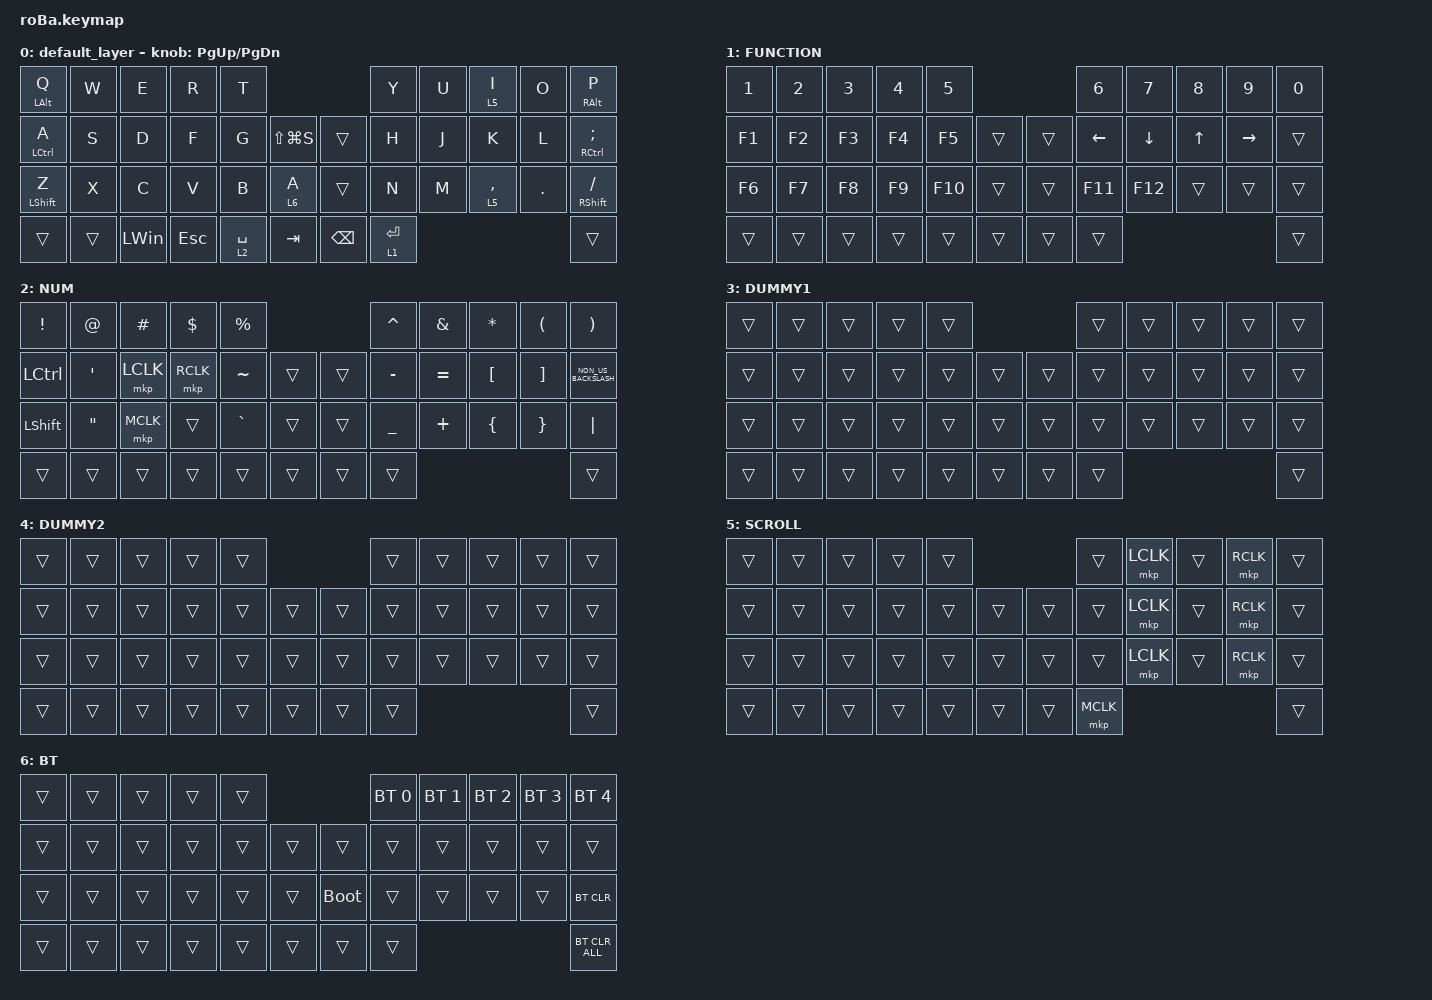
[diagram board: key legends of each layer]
#include <behaviors.dtsi>
#include <dt-bindings/zmk/bt.h>
#include <dt-bindings/zmk/keys.h>
#include <dt-bindings/zmk/pointing.h>

&mt {
    flavor = "balanced";
    quick-tap-ms = <0>;
};

&trackball {
    automouse-layer = <4>;
    scroll-layers = <5>;

    // arrows {
    //     layers = <3>;
    //     bindings =
    //         <&kp RIGHT_ARROW>,
    //         <&kp LEFT_ARROW>,
    //         <&kp UP_ARROW>,
    //         <&kp DOWN_ARROW>;
    //     tick = <10>;
    //     wait-ms = <5>;
    //     tap-ms = <5>;
    // };
};

/ {
    combos { compatible = "zmk,combos"; };

    macros {
        to_layer_0: to_layer_0 {
            compatible = "zmk,behavior-macro-one-param";
            #binding-cells = <1>;
            bindings = <&to 0 &macro_param_1to1 &kp MACRO_PLACEHOLDER>;
            label = "TO_LAYER_0";
        };
    };

    behaviors {
        lt_to_layer_0: lt_to_layer_0 {
            compatible = "zmk,behavior-hold-tap";
            label = "LAYER_TAP_TO_0";
            bindings = <&mo>, <&to_layer_0>;

            #binding-cells = <2>;
            tapping-term-ms = <200>;
        };
    };

    keymap {
        compatible = "zmk,keymap";

        default_layer {
            bindings = <
&mt LEFT_ALT Q    &kp W   &kp E         &kp R       &kp T                                          &kp Y        &kp U  &lt 5 I      &kp O    &mt RIGHT_ALT P
&mt LCTRL A       &kp S   &kp D         &kp F       &kp G        &kp LS(LG(S))      &trans         &kp H        &kp J  &kp K        &kp L    &mt RCTRL SEMICOLON
&mt LEFT_SHIFT Z  &kp X   &kp C         &kp V       &kp B        &lt 6 A            &trans         &kp N        &kp M  &lt 5 COMMA  &kp DOT  &mt RIGHT_SHIFT SLASH
&trans            &trans  &kp LEFT_WIN  &kp ESCAPE  &lt 2 SPACE  &kp TAB            &kp BACKSPACE  &lt 1 ENTER                               &trans
            >;

            sensor-bindings = <&inc_dec_kp PAGE_UP PAGE_DOWN>;
        };

        FUNCTION {
            bindings = <
&kp NUMBER_1  &kp NUMBER_2  &kp NUMBER_3  &kp NUMBER_4  &kp N5                       &kp NUMBER_6  &kp N7    &kp N8  &kp N9     &kp N0
&kp F1        &kp F2        &kp F3        &kp F4        &kp F5   &trans      &trans  &kp LEFT      &kp DOWN  &kp UP  &kp RIGHT  &trans
&kp F6        &kp F7        &kp F8        &kp F9        &kp F10  &trans      &trans  &kp F11       &kp F12   &trans  &trans     &trans
&trans        &trans        &trans        &trans        &trans   &trans      &trans  &trans                                     &trans
            >;
        };

        NUM {
            bindings = <
&kp EXCLAMATION  &kp AT_SIGN        &kp POUND  &kp DOLLAR  &kp PERCENT                      &kp CARET       &kp AMPERSAND  &kp ASTERISK      &kp LEFT_PARENTHESIS  &kp RIGHT_PARENTHESIS
&kp LCTRL        &kp SINGLE_QUOTE   &mkp LCLK  &mkp RCLK   &kp TILDE    &trans      &trans  &kp MINUS       &kp EQUAL      &kp LEFT_BRACKET  &kp RIGHT_BRACKET     &kp NON_US_BACKSLASH
&kp LEFT_SHIFT   &kp DOUBLE_QUOTES  &mkp MCLK  &trans      &kp GRAVE    &trans      &trans  &kp UNDERSCORE  &kp PLUS       &kp LEFT_BRACE    &kp RIGHT_BRACE       &kp PIPE
&trans           &trans             &trans     &trans      &trans       &trans      &trans  &trans                                                                 &trans
            >;
        };

        DUMMY1 {
            bindings = <
&trans  &trans  &trans  &trans  &trans                      &trans  &trans  &trans  &trans  &trans
&trans  &trans  &trans  &trans  &trans  &trans      &trans  &trans  &trans  &trans  &trans  &trans
&trans  &trans  &trans  &trans  &trans  &trans      &trans  &trans  &trans  &trans  &trans  &trans
&trans  &trans  &trans  &trans  &trans  &trans      &trans  &trans                          &trans
            >;
        };

        DUMMY2 {
            bindings = <
&trans  &trans  &trans  &trans  &trans                      &trans  &trans  &trans  &trans  &trans
&trans  &trans  &trans  &trans  &trans  &trans      &trans  &trans  &trans  &trans  &trans  &trans
&trans  &trans  &trans  &trans  &trans  &trans      &trans  &trans  &trans  &trans  &trans  &trans
&trans  &trans  &trans  &trans  &trans  &trans      &trans  &trans                          &trans
            >;
        };

        SCROLL {
            bindings = <
&trans  &trans  &trans  &trans  &trans                      &trans     &mkp LCLK  &trans  &mkp RCLK  &trans
&trans  &trans  &trans  &trans  &trans  &trans      &trans  &trans     &mkp LCLK  &trans  &mkp RCLK  &trans
&trans  &trans  &trans  &trans  &trans  &trans      &trans  &trans     &mkp LCLK  &trans  &mkp RCLK  &trans
&trans  &trans  &trans  &trans  &trans  &trans      &trans  &mkp MCLK                                &trans
            >;
        };

        BT {
            bindings = <
&trans  &trans  &trans  &trans  &trans                           &bt BT_SEL 0  &bt BT_SEL 1  &bt BT_SEL 2  &bt BT_SEL 3  &bt BT_SEL 4
&trans  &trans  &trans  &trans  &trans  &trans      &trans       &trans        &trans        &trans        &trans        &trans
&trans  &trans  &trans  &trans  &trans  &trans      &bootloader  &trans        &trans        &trans        &trans        &bt BT_CLR
&trans  &trans  &trans  &trans  &trans  &trans      &trans       &trans                                                  &bt BT_CLR_ALL
            >;
        };
    };
};
